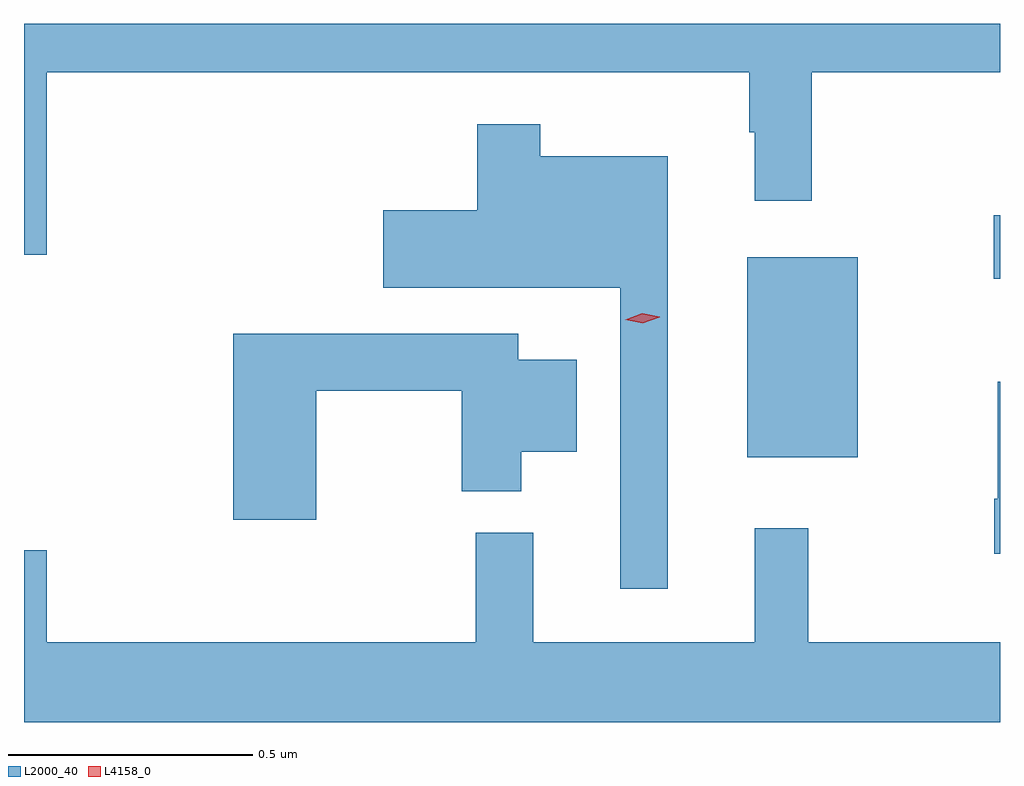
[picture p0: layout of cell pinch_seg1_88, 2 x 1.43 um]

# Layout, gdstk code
import gdstk
lib = gdstk.Library(unit=1e-6, precision=1e-09)
def R(c, l, rs):  # rectangles x0, y0, x1, y1
    for r in rs: c.add(gdstk.rectangle(r[:2], r[2:], *l))
def P(c, l, *ps):  # polygons
    for p in ps: c.add(gdstk.Polygon(p, *l))
L2000_40 = (2000, 40)
L4158_0 = (4158, 0)

pinch_seg1_88 = lib.new_cell('pinch_seg1_88')
R(pinch_seg1_88, L2000_40, [(1065.707,582.911,1065.934,583.321), (1066.212,583.277,1066.225,583.407)])
P(pinch_seg1_88, L2000_40, [(1064.272,583.7),(1065.711,583.7),(1065.711,583.577),(1065.722,583.577),(1065.722,583.437),(1065.839,583.437),(1065.839,583.7),(1066.225,583.7),(1066.225,583.8),(1064.225,583.8),(1064.225,583.326),(1064.272,583.326)],
  [(1065.544,583.528),(1065.283,583.528),(1065.283,583.594),(1065.154,583.594),(1065.154,583.417),(1064.961,583.417),(1064.961,583.259),(1065.447,583.259),(1065.447,582.642),(1065.544,582.642)],
  [(1064.824,583.048),(1065.122,583.048),(1065.122,582.842),(1065.244,582.842),(1065.244,582.923),(1065.358,582.923),(1065.358,583.111),(1065.238,583.111),(1065.238,583.164),(1064.654,583.164),(1064.654,582.783),(1064.824,582.783)],
  [(1066.225,583.066),(1066.22,583.066),(1066.22,582.826),(1066.213,582.826),(1066.213,582.714),(1066.225,582.714)],
  [(1066.225,582.532),(1065.832,582.532),(1065.832,582.766),(1065.722,582.766),(1065.722,582.532),(1065.269,582.532),(1065.269,582.757),(1065.151,582.757),(1065.151,582.532),(1064.272,582.532),(1064.272,582.721),(1064.225,582.721),(1064.225,582.368),(1066.225,582.368)])
P(pinch_seg1_88, L4158_0, [(1065.493,583.186),(1065.457,583.193),(1065.457,583.193),(1065.457,583.193),(1065.492,583.206),(1065.528,583.199),(1065.528,583.198),(1065.528,583.198)])

lib.write_gds('pinch_seg1_88.gds')
